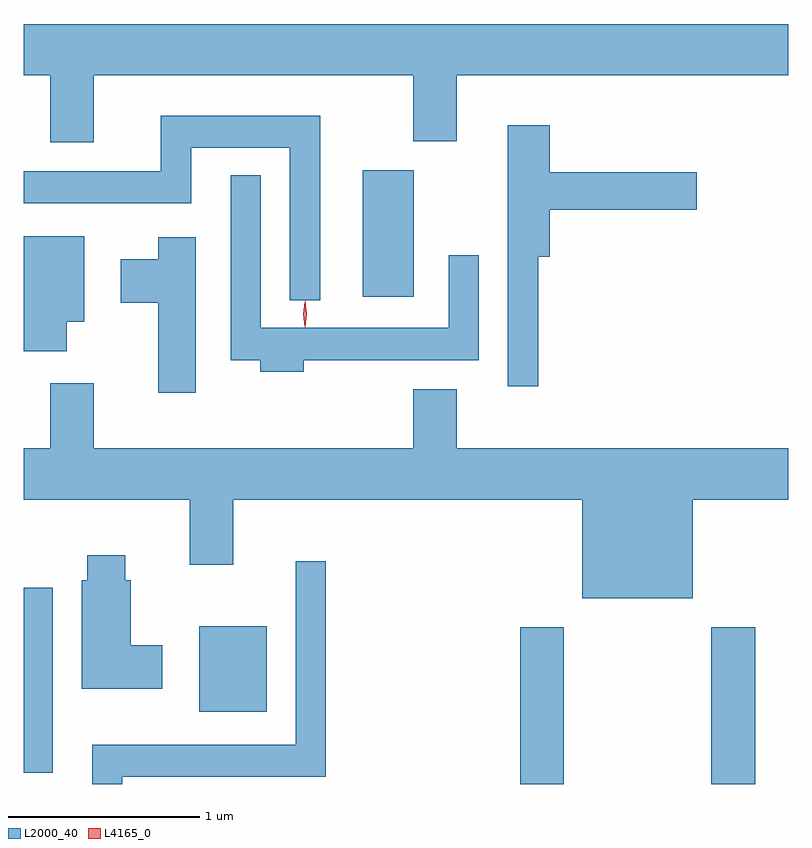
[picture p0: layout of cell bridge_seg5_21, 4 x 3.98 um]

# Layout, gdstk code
import gdstk
lib = gdstk.Library(unit=1e-6, precision=1e-09)
def R(c, l, rs):  # rectangles x0, y0, x1, y1
    for r in rs: c.add(gdstk.rectangle(r[:2], r[2:], *l))
def P(c, l, *ps):  # polygons
    for p in ps: c.add(gdstk.Polygon(p, *l))
L2000_40 = (2000, 40)
L4165_0 = (4165, 0)

bridge_seg5_21 = lib.new_cell('bridge_seg5_21')
R(bridge_seg5_21, L2000_40, [(1241.351,1475.288,1241.579,1476.109), (1242.351,1475.288,1242.579,1476.109), (1238.753,1475.348,1238.904,1476.314), (1239.671,1475.666,1240.024,1476.114), (1240.526,1477.836,1240.794,1478.499)])
P(bridge_seg5_21, L2000_40, [(1239.119,1478.996),(1240.791,1478.996),(1240.791,1478.651),(1241.019,1478.651),(1241.019,1478.996),(1242.753,1478.996),(1242.753,1479.264),(1238.753,1479.264),(1238.753,1478.996),(1238.891,1478.996),(1238.891,1478.646),(1239.119,1478.646)],
  [(1240.304,1478.784),(1239.471,1478.784),(1239.471,1478.494),(1238.753,1478.494),(1238.753,1478.326),(1239.629,1478.326),(1239.629,1478.616),(1240.146,1478.616),(1240.146,1477.818),(1240.304,1477.818)],
  [(1241.444,1478.046),(1241.504,1478.046),(1241.504,1478.291),(1242.274,1478.291),(1242.274,1478.489),(1241.504,1478.489),(1241.504,1478.734),(1241.286,1478.734),(1241.286,1477.368),(1241.444,1477.368)],
  [(1240.219,1477.506),(1241.134,1477.506),(1241.134,1478.053),(1240.976,1478.053),(1240.976,1477.674),(1239.994,1477.674),(1239.994,1478.473),(1239.836,1478.473),(1239.836,1477.506),(1239.991,1477.506),(1239.991,1477.446),(1240.219,1477.446)],
  [(1238.979,1477.706),(1239.069,1477.706),(1239.069,1478.154),(1238.753,1478.154),(1238.753,1477.551),(1238.979,1477.551)],
  [(1239.654,1478.149),(1239.456,1478.149),(1239.456,1478.034),(1239.261,1478.034),(1239.261,1477.806),(1239.456,1477.806),(1239.456,1477.336),(1239.654,1477.336)],
  [(1241.019,1477.354),(1240.791,1477.354),(1240.791,1477.044),(1239.119,1477.044),(1239.119,1477.384),(1238.891,1477.384),(1238.891,1477.044),(1238.753,1477.044),(1238.753,1476.776),(1239.621,1476.776),(1239.621,1476.436),(1239.849,1476.436),(1239.849,1476.776),(1241.676,1476.776),(1241.676,1476.261),(1242.254,1476.261),(1242.254,1476.776),(1242.753,1476.776),(1242.753,1477.044),(1241.019,1477.044)],
  [(1239.479,1476.014),(1239.314,1476.014),(1239.314,1476.354),(1239.284,1476.354),(1239.284,1476.484),(1239.086,1476.484),(1239.086,1476.354),(1239.056,1476.354),(1239.056,1475.786),(1239.479,1475.786)],
  [(1239.269,1475.326),(1240.334,1475.326),(1240.334,1476.453),(1240.176,1476.453),(1240.176,1475.494),(1239.111,1475.494),(1239.111,1475.288),(1239.269,1475.288)])
P(bridge_seg5_21, L4165_0, [(1240.225,1477.677),(1240.225,1477.677),(1240.215,1477.747),(1240.225,1477.816),(1240.225,1477.816),(1240.226,1477.816),(1240.235,1477.747),(1240.226,1477.677)],
  [(1240.225,1477.679),(1240.224,1477.68),(1240.215,1477.746),(1240.224,1477.812),(1240.225,1477.813),(1240.225,1477.812),(1240.235,1477.746),(1240.225,1477.68)])

lib.write_gds('bridge_seg5_21.gds')
